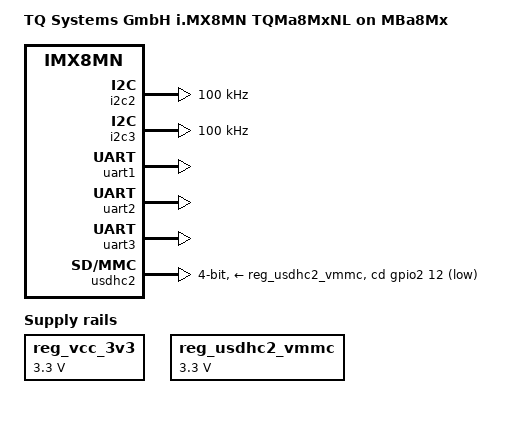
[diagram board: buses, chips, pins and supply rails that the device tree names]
// SPDX-License-Identifier: (GPL-2.0-or-later OR MIT)
/*
 * Copyright 2020-2021 TQ-Systems GmbH
 */

/ {
	model = "TQ Systems GmbH i.MX8MN TQMa8MxNL on MBa8Mx";
	compatible = "tq,imx8mn-mba8mx", "tq,imx8mn-tqma8mnx", "fsl,imx8mn";

	chosen {
		bootargs = "console=ttymxc2,115200 earlycon=ec_imx6q,0x30880000,115200";
		stdout-path = &uart3;
	};

	reg_vcc_3v3: regulator-3v3 {
		compatible = "regulator-fixed";
		regulator-name = "MBA8MQ_3V3";
		regulator-min-microvolt = <3300000>;
		regulator-max-microvolt = <3300000>;
	};

	reg_usdhc2_vmmc: regulator-vmmc {
		compatible = "regulator-fixed";
		regulator-name = "VSD_3V3";
		regulator-min-microvolt = <3300000>;
		regulator-max-microvolt = <3300000>;
	};
};

&iomuxc {
	pinctrl_i2c2: i2c2grp {
		fsl,pins = <
			MX8MN_IOMUXC_I2C2_SCL_I2C2_SCL		0x400001C4
			MX8MN_IOMUXC_I2C2_SDA_I2C2_SDA		0x400001C4
		>;
	};

	pinctrl_i2c3: i2c3grp {
		fsl,pins = <
			MX8MN_IOMUXC_I2C3_SCL_I2C3_SCL		0x400001C4
			MX8MN_IOMUXC_I2C3_SDA_I2C3_SDA		0x400001C4
		>;
	};

	pinctrl_uart1: uart1grp {
		fsl,pins = <
			MX8MN_IOMUXC_UART1_RXD_UART1_DCE_RX	0x16
			MX8MN_IOMUXC_UART1_TXD_UART1_DCE_TX	0x16
		>;
	};

	pinctrl_uart2: uart2grp {
		fsl,pins = <
			MX8MN_IOMUXC_UART2_RXD_UART2_DCE_RX	0x16
			MX8MN_IOMUXC_UART2_TXD_UART2_DCE_TX	0x16
		>;
	};

	pinctrl_uart3: uart3grp {
		fsl,pins = <
			MX8MN_IOMUXC_UART3_RXD_UART3_DCE_RX	0x16
			MX8MN_IOMUXC_UART3_TXD_UART3_DCE_TX	0x16
		>;
	};

	pinctrl_uart4: uart4grp {
		fsl,pins = <
			MX8MN_IOMUXC_UART4_RXD_UART4_DCE_RX	0x16
			MX8MN_IOMUXC_UART4_TXD_UART4_DCE_TX	0x16
		>;
	};

	pinctrl_usdhc2_gpio: usdhc2grpgpio {
		fsl,pins = <
			MX8MN_IOMUXC_SD2_CD_B_GPIO2_IO12	0x84
		>;
	};

	pinctrl_usdhc2: usdhc2grp {
		fsl,pins = <
			MX8MN_IOMUXC_SD2_CLK_USDHC2_CLK		0x1d4
			MX8MN_IOMUXC_SD2_CMD_USDHC2_CMD		0x1d4
			MX8MN_IOMUXC_SD2_DATA0_USDHC2_DATA0	0x1d4
			MX8MN_IOMUXC_SD2_DATA1_USDHC2_DATA1	0x1d4
			MX8MN_IOMUXC_SD2_DATA2_USDHC2_DATA2	0x1d4
			MX8MN_IOMUXC_SD2_DATA3_USDHC2_DATA3	0x1d4
			MX8MN_IOMUXC_GPIO1_IO04_USDHC2_VSELECT	0x84
		>;
	};

	pinctrl_usdhc2_100mhz: usdhc2grp100mhz {
		fsl,pins = <
			MX8MN_IOMUXC_SD2_CLK_USDHC2_CLK		0x1d2
			MX8MN_IOMUXC_SD2_CMD_USDHC2_CMD		0x1d2
			MX8MN_IOMUXC_SD2_DATA0_USDHC2_DATA0	0x1d2
			MX8MN_IOMUXC_SD2_DATA1_USDHC2_DATA1	0x1d2
			MX8MN_IOMUXC_SD2_DATA2_USDHC2_DATA2	0x1d2
			MX8MN_IOMUXC_SD2_DATA3_USDHC2_DATA3	0x1d2
			MX8MN_IOMUXC_GPIO1_IO04_USDHC2_VSELECT	0x84
		>;
	};

	pinctrl_usdhc2_200mhz: usdhc2grp200mhz {
		fsl,pins = <
			MX8MN_IOMUXC_SD2_CLK_USDHC2_CLK		0x1d6
			MX8MN_IOMUXC_SD2_CMD_USDHC2_CMD		0x1d6
			MX8MN_IOMUXC_SD2_DATA0_USDHC2_DATA0	0x1d6
			MX8MN_IOMUXC_SD2_DATA1_USDHC2_DATA1	0x1d6
			MX8MN_IOMUXC_SD2_DATA2_USDHC2_DATA2	0x1d6
			MX8MN_IOMUXC_SD2_DATA3_USDHC2_DATA3	0x1d6
			MX8MN_IOMUXC_GPIO1_IO04_USDHC2_VSELECT	0x84
		>;
	};
};

&i2c2 {
	clock-frequency = <100000>;
	pinctrl-names = "default";
	pinctrl-0 = <&pinctrl_i2c2>;
	status = "okay";
};

&i2c3 {
	clock-frequency = <100000>;
	pinctrl-names = "default";
	pinctrl-0 = <&pinctrl_i2c3>;
	status = "okay";
};

&uart1 {
	pinctrl-names = "default";
	pinctrl-0 = <&pinctrl_uart1>;
	status = "okay";
};

&uart2 {
	pinctrl-names = "default";
	pinctrl-0 = <&pinctrl_uart2>;
	status = "okay";
};

/* console */
&uart3 {
	pinctrl-names = "default";
	pinctrl-0 = <&pinctrl_uart3>;
	status = "okay";
};

/* TODO: does not work, leads to system stall */
&uart4 {
	pinctrl-names = "default";
	pinctrl-0 = <&pinctrl_uart4>;
	status = "disabled";
};

&usdhc2 {
	pinctrl-names = "default", "state_100mhz", "state_200mhz";
	pinctrl-0 = <&pinctrl_usdhc2>, <&pinctrl_usdhc2_gpio>;
	pinctrl-1 = <&pinctrl_usdhc2_100mhz>, <&pinctrl_usdhc2_gpio>;
	pinctrl-2 = <&pinctrl_usdhc2_200mhz>, <&pinctrl_usdhc2_gpio>;
	bus-width = <4>;
	cd-gpios = <&gpio2 12 GPIO_ACTIVE_LOW>;
	disable-wp;
	no-mmc;
	no-1-8-v;
	vmmc-supply = <&reg_usdhc2_vmmc>;
	status = "okay";
};
